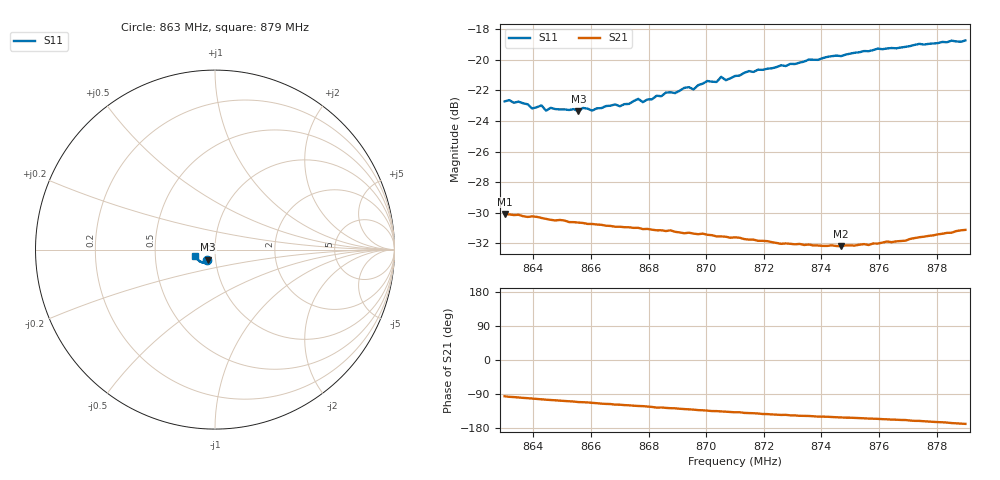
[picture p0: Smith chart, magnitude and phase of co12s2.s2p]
# HZ S RI R 50
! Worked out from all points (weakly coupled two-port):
!   101 points, 863 MHz to 879 MHz, reference 50 ohm
!   highest |S21| = -30.07 dB at 863 MHz (marker M1); lowest = -32.2 dB at 874.68 MHz (marker M2)
!   lowest |S11| = -23.4 dB at 865.56 MHz (marker M3), VSWR 1.15, Z = 46.1 - j5.23 ohm
!   |S11| at or under -10 dB: start of sweep to end of sweep
!   S12 and S22 are empty: the file has one direction only
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8.63e8  -0.0471 -0.0559  -0.00314 -0.0312  0 0  0 0
8.6348e8  -0.0451 -0.0573  -0.0048 -0.0308  0 0  0 0
8.6396e8  -0.0411 -0.0558  -0.00625 -0.0301  0 0  0 0
8.6428e8  -0.0421 -0.0571  -0.00721 -0.0295  0 0  0 0
8.6444e8  -0.0421 -0.0537  -0.0077 -0.0292  0 0  0 0
8.646e8  -0.041 -0.0563  -0.00805 -0.0289  0 0  0 0
8.6556e8  -0.0377 -0.0565  -0.0105 -0.0274  0 0  0 0
8.6572e8  -0.0379 -0.0584  -0.0107 -0.0273  0 0  0 0
8.6604e8  -0.0365 -0.0576  -0.0114 -0.0267  0 0  0 0
8.6764e8  -0.0374 -0.0645  -0.0147 -0.0241  0 0  0 0
8.6844e8  -0.0384 -0.0656  -0.016 -0.0226  0 0  0 0
8.6924e8  -0.0423 -0.0691  -0.0172 -0.0209  0 0  0 0
8.6956e8  -0.0401 -0.0692  -0.0177 -0.0204  0 0  0 0
8.7004e8  -0.0456 -0.0721  -0.0185 -0.0194  0 0  0 0
8.7036e8  -0.045 -0.0717  -0.0187 -0.0188  0 0  0 0
8.7052e8  -0.0496 -0.0726  -0.0189 -0.0185  0 0  0 0
8.7068e8  -0.0481 -0.071  -0.0191 -0.0182  0 0  0 0
8.71e8  -0.0498 -0.0732  -0.0196 -0.0176  0 0  0 0
8.7372e8  -0.0694 -0.072  -0.0211 -0.0129  0 0  0 0
8.7468e8  -0.0769 -0.0682  -0.0216 -0.0117  0 0  0 0
8.7644e8  -0.0918 -0.0593  -0.0234 -0.00978  0 0  0 0
8.79e8  -0.1095 -0.0373  -0.0272 -0.00553  0 0  0 0
